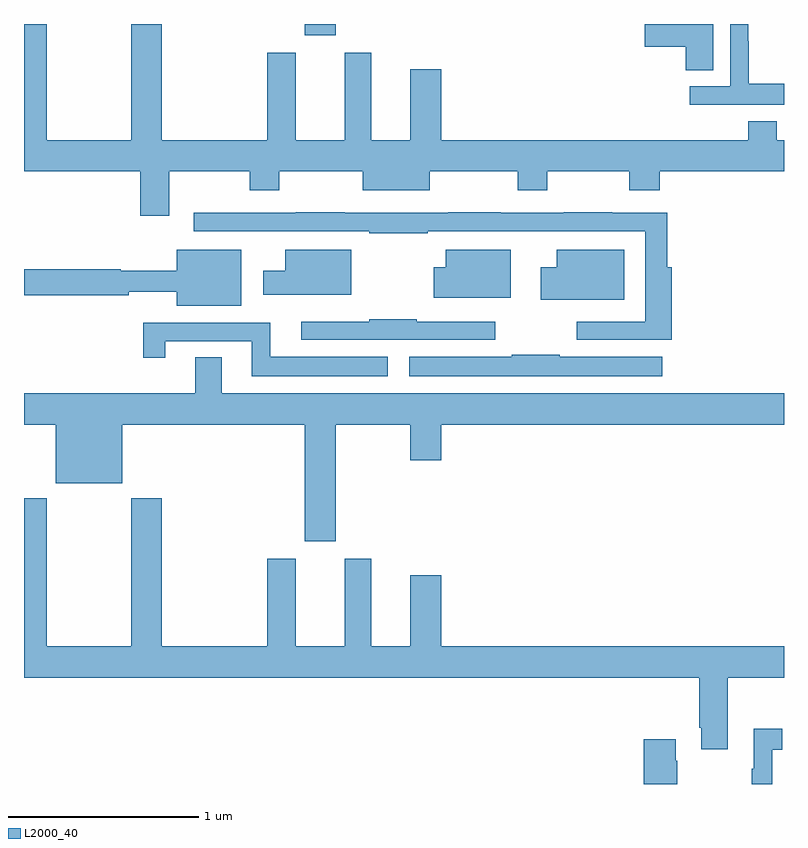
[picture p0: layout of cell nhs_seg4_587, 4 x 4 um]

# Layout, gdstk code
import gdstk
lib = gdstk.Library(unit=1e-6, precision=1e-09)
def R(c, l, rs):  # rectangles x0, y0, x1, y1
    for r in rs: c.add(gdstk.rectangle(r[:2], r[2:], *l))
def P(c, l, *ps):  # polygons
    for p in ps: c.add(gdstk.Polygon(p, *l))
L2000_40 = (2000, 40)

nhs_seg4_587 = lib.new_cell('nhs_seg4_587')
R(nhs_seg4_587, L2000_40, [(140.477,826.842,140.641,826.9)])
P(nhs_seg4_587, L2000_40, [(142.627,826.9),(142.266,826.9),(142.266,826.781),(142.484,826.781),(142.484,826.657),(142.627,826.657)],
  [(141.196,826.663),(141.032,826.663),(141.032,826.288),(140.827,826.288),(140.827,826.75),(140.687,826.75),(140.687,826.288),(140.431,826.288),(140.431,826.75),(140.279,826.75),(140.279,826.288),(139.724,826.288),(139.724,826.9),(139.564,826.9),(139.564,826.288),(139.119,826.288),(139.119,826.9),(139,826.9),(139,826.124),(139.613,826.124),(139.613,825.891),(139.765,825.891),(139.765,826.124),(140.188,826.124),(140.188,826.025),(140.343,826.025),(140.343,826.124),(140.783,826.124),(140.783,826.025),(141.136,826.025),(141.136,826.124),(141.598,826.124),(141.598,826.025),(141.753,826.025),(141.753,826.124),(142.186,826.124),(142.186,826.025),(142.346,826.025),(142.346,826.124),(143,826.124),(143,826.288),(142.963,826.288),(142.963,826.387),(142.811,826.387),(142.811,826.288),(141.196,826.288)],
  [(143,826.585),(142.815,826.585),(142.815,826.808),(142.812,826.808),(142.812,826.9),(142.716,826.9),(142.716,826.572),(142.503,826.572),(142.503,826.476),(143,826.476)],
  [(142.409,825.619),(142.385,825.619),(142.385,825.906),(142.097,825.906),(142.097,825.908),(141.841,825.908),(141.841,825.906),(141.509,825.906),(141.509,825.908),(141.232,825.908),(141.232,825.906),(140.687,825.906),(140.687,825.908),(140.431,825.908),(140.431,825.906),(139.893,825.906),(139.893,825.81),(140.818,825.81),(140.818,825.798),(141.125,825.798),(141.125,825.81),(142.269,825.81),(142.269,825.333),(141.909,825.333),(141.909,825.237),(142.409,825.237)],
  [(141.562,825.712),(141.221,825.712),(141.221,825.619),(141.156,825.619),(141.156,825.458),(141.562,825.458)],
  [(142.159,825.712),(141.803,825.712),(141.803,825.619),(141.719,825.619),(141.719,825.449),(142.159,825.449)],
  [(140.143,825.712),(139.805,825.712),(139.805,825.601),(139.509,825.601),(139.509,825.608),(139,825.608),(139,825.472),(139.55,825.472),(139.55,825.491),(139.805,825.491),(139.805,825.416),(140.143,825.416)],
  [(140.722,825.712),(140.375,825.712),(140.375,825.601),(140.258,825.601),(140.258,825.476),(140.722,825.476)],
  [(141.481,825.333),(141.068,825.333),(141.068,825.346),(140.818,825.346),(140.818,825.334),(140.46,825.334),(140.46,825.237),(141.481,825.237)],
  [(140.914,825.148),(140.296,825.148),(140.296,825.327),(139.627,825.327),(139.627,825.144),(139.744,825.144),(139.744,825.231),(140.198,825.231),(140.198,825.047),(140.914,825.047)],
  [(142.36,825.148),(141.821,825.148),(141.821,825.158),(141.568,825.158),(141.568,825.148),(141.027,825.148),(141.027,825.047),(142.36,825.047)],
  [(140.641,824.792),(141.032,824.792),(141.032,824.604),(141.196,824.604),(141.196,824.792),(143,824.792),(143,824.956),(140.041,824.956),(140.041,825.146),(139.901,825.146),(139.901,824.956),(139,824.956),(139,824.792),(139.166,824.792),(139.166,824.483),(139.516,824.483),(139.516,824.792),(140.477,824.792),(140.477,824.178),(140.641,824.178)],
  [(141.196,823.999),(141.032,823.999),(141.032,823.624),(140.827,823.624),(140.827,824.086),(140.687,824.086),(140.687,823.624),(140.431,823.624),(140.431,824.086),(140.279,824.086),(140.279,823.624),(139.724,823.624),(139.724,824.404),(139.564,824.404),(139.564,823.624),(139.119,823.624),(139.119,824.404),(139,824.404),(139,823.46),(142.553,823.46),(142.553,823.195),(142.565,823.195),(142.565,823.083),(142.705,823.083),(142.705,823.46),(143,823.46),(143,823.624),(141.196,823.624)],
  [(142.938,823.079),(142.99,823.079),(142.99,823.192),(142.841,823.192),(142.841,822.979),(142.83,822.979),(142.83,822.9),(142.938,822.9)],
  [(142.437,823.022),(142.429,823.022),(142.429,823.135),(142.262,823.135),(142.262,822.9),(142.437,822.9)])

lib.write_gds('nhs_seg4_587.gds')
